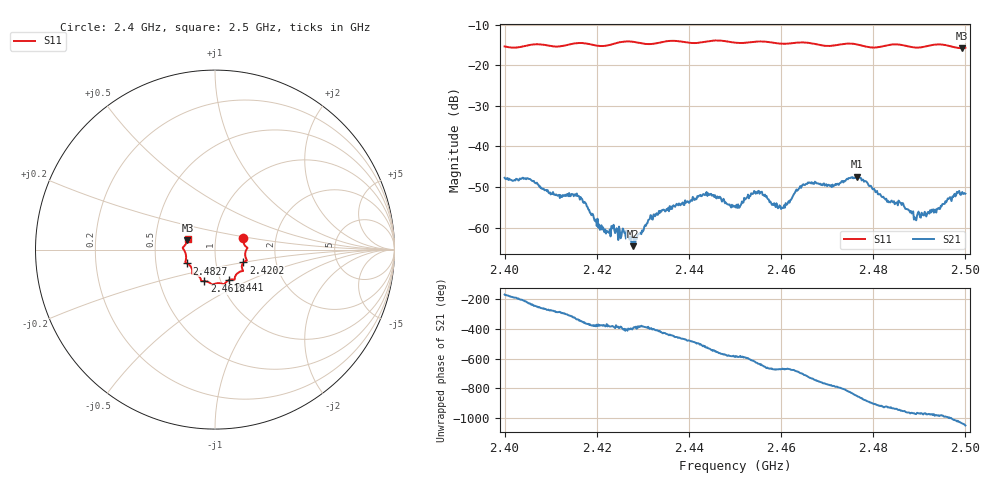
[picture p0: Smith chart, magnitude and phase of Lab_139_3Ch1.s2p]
# Hz S RI R 50
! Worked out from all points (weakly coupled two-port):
!   601 points, 2.4 GHz to 2.5 GHz, reference 50 ohm
!   highest |S21| = -47.46 dB at 2.4765 GHz (marker M1); lowest = -64.5 dB at 2.4278 GHz (marker M2)
!   lowest |S11| = -15.8 dB at 2.4993 GHz (marker M3), VSWR 1.39, Z = 36.5 + j3.84 ohm
!   |S11| at or under -10 dB: start of sweep to end of sweep
!   S12 and S22 are empty: the file has one direction only
!   S11 on the Smith chart (normalised r, x): 2.4 GHz: 1.36, +0.18; 2.4202 GHz: 1.36, -0.20; 2.441 GHz: 1.10, -0.39; 2.4618 GHz: 0.84, -0.30; 2.4827 GHz: 0.72, -0.12; 2.5 GHz: 0.73, +0.09
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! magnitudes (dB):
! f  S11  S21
! 2.4 GHz  -15.4  -47.7
! 2.4053 GHz  -15.0  -48.0
! 2.4098 GHz  -15.2  -51.3
! 2.4167 GHz  -14.5  -52.8
! 2.4202 GHz  -15.2  -57.8
! 2.4278 GHz  -14.2  -64.5
! 2.4333 GHz  -14.5  -56.7
! 2.441 GHz  -14.6  -52.8
! 2.4443 GHz  -14.1  -51.8
! 2.45 GHz  -14.5  -54.8
! 2.4547 GHz  -14.2  -51.3
! 2.4597 GHz  -14.7  -54.5
! 2.4618 GHz  -14.7  -53.8
! 2.4643 GHz  -14.4  -50.2
! 2.4667 GHz  -14.6  -48.8
! 2.4765 GHz  -14.9  -47.5
! 2.4827 GHz  -15.2  -53.1
! 2.4833 GHz  -15.0  -53.8
! 2.486 GHz  -15.0  -53.9
! 2.4893 GHz  -15.7  -58.2
! 2.4993 GHz  -15.8  -51.2
! 2.5 GHz  -15.7  -51.6
